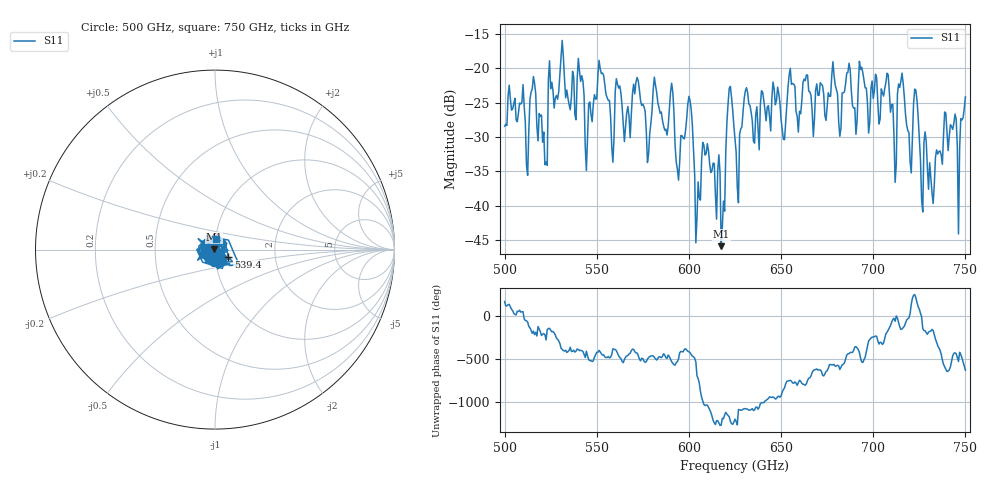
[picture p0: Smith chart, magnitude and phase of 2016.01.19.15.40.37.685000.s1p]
!Created with skrf (http://scikit-rf.org).
# GHz S RI R 50.0
!freq ReS11 ImS11
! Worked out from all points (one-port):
!   401 points, 500 GHz to 750 GHz, reference 50 ohm
!   lowest |S11| = -45.9 dB at 617.5 GHz (marker M1), VSWR 1.01, Z = 49.5 + j0.104 ohm
!   |S11| at or under -10 dB: start of sweep to end of sweep
!   S11 on the Smith chart (normalised r, x): 500 GHz: 0.93, +0.02; 539.4 GHz: 1.15, -0.09; 750 GHz: 1.00, +0.12
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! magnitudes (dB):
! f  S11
! 500 GHz  -28.4
! 512.5 GHz  -35.6
! 515.6 GHz  -21.2
! 521.9 GHz  -34.0
! 531.2 GHz  -16.0
! 539.4 GHz  -21.5
! 545 GHz  -29.8
! 551.9 GHz  -20.1
! 558.1 GHz  -31.4
! 562.5 GHz  -22.6
! 578.1 GHz  -32.4
! 590.6 GHz  -22.2
! 593.8 GHz  -34.7
! 600 GHz  -24.1
! 605 GHz  -36.5
! 608.8 GHz  -32.6
! 617.5 GHz  -45.9
! 621.9 GHz  -22.9
! 625 GHz  -30.3
! 656.2 GHz  -22.2
! 687.5 GHz  -20.2
! 707.5 GHz  -20.7
! 711.2 GHz  -29.8
! 715 GHz  -21.9
! 718.8 GHz  -29.0
! 723.1 GHz  -23.2
! 731.2 GHz  -35.9
! 750 GHz  -24.2
